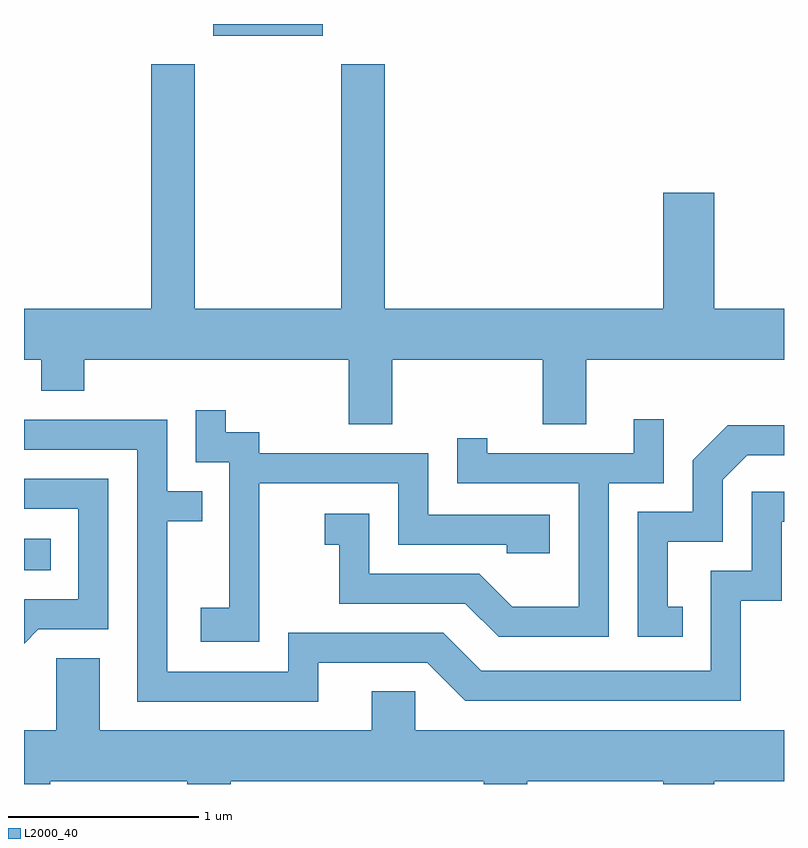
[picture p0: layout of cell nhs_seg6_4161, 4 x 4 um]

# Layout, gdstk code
import gdstk
lib = gdstk.Library(unit=1e-6, precision=1e-09)
def R(c, l, rs):  # rectangles x0, y0, x1, y1
    for r in rs: c.add(gdstk.rectangle(r[:2], r[2:], *l))
def P(c, l, *ps):  # polygons
    for p in ps: c.add(gdstk.Polygon(p, *l))
L2000_40 = (2000, 40)

nhs_seg6_4161 = lib.new_cell('nhs_seg6_4161')
R(nhs_seg6_4161, L2000_40, [(311.611,1633.286,311.753,1633.454), (312.606,1636.101,313.184,1636.162)])
P(nhs_seg6_4161, L2000_40, [(313.549,1634.396),(314.341,1634.396),(314.341,1634.056),(314.569,1634.056),(314.569,1634.396),(315.611,1634.396),(315.611,1634.664),(315.244,1634.664),(315.244,1635.274),(314.976,1635.274),(314.976,1634.664),(313.509,1634.664),(313.509,1635.949),(313.281,1635.949),(313.281,1634.664),(312.509,1634.664),(312.509,1635.949),(312.281,1635.949),(312.281,1634.664),(311.611,1634.664),(311.611,1634.396),(311.701,1634.396),(311.701,1634.231),(311.929,1634.231),(311.929,1634.396),(313.321,1634.396),(313.321,1634.056),(313.549,1634.056)],
  [(312.849,1633.746),(313.581,1633.746),(313.581,1633.421),(314.151,1633.421),(314.151,1633.376),(314.379,1633.376),(314.379,1633.579),(313.739,1633.579),(313.739,1633.904),(312.849,1633.904),(312.849,1634.014),(312.674,1634.014),(312.674,1634.128),(312.516,1634.128),(312.516,1633.856),(312.691,1633.856),(312.691,1633.089),(312.541,1633.089),(312.541,1632.911),(312.849,1632.911)],
  [(314.689,1633.746),(314.979,1633.746),(314.979,1634.083),(314.821,1634.083),(314.821,1633.904),(314.049,1633.904),(314.049,1633.983),(313.891,1633.983),(313.891,1633.746),(314.531,1633.746),(314.531,1633.094),(314.182,1633.094),(314.007,1633.269),(313.429,1633.269),(313.429,1633.584),(313.193,1633.584),(313.193,1633.421),(313.271,1633.421),(313.271,1633.111),(313.934,1633.111),(314.109,1632.936),(314.689,1632.936)],
  [(313.159,1632.801),(313.734,1632.801),(313.934,1632.601),(315.384,1632.601),(315.384,1633.126),(315.599,1633.126),(315.599,1633.541),(315.611,1633.541),(315.611,1633.699),(315.441,1633.699),(315.441,1633.284),(315.226,1633.284),(315.226,1632.759),(314.017,1632.759),(313.817,1632.959),(313.001,1632.959),(313.001,1632.754),(312.364,1632.754),(312.364,1633.546),(312.548,1633.546),(312.548,1633.704),(312.364,1633.704),(312.364,1634.079),(311.611,1634.079),(311.611,1633.921),(312.206,1633.921),(312.206,1632.596),(313.159,1632.596)],
  [(315.078,1633.094),(314.999,1633.094),(314.999,1633.436),(315.289,1633.436),(315.289,1633.764),(315.417,1633.891),(315.611,1633.891),(315.611,1634.049),(315.314,1634.049),(315.131,1633.867),(315.131,1633.594),(314.841,1633.594),(314.841,1632.936),(315.078,1632.936)],
  [(311.687,1632.976),(312.054,1632.976),(312.054,1633.769),(311.611,1633.769),(311.611,1633.611),(311.896,1633.611),(311.896,1633.134),(311.614,1633.134),(311.611,1633.131),(311.611,1632.9)],
  [(311.749,1632.176),(312.471,1632.176),(312.471,1632.162),(312.699,1632.162),(312.699,1632.176),(314.031,1632.176),(314.031,1632.162),(314.259,1632.162),(314.259,1632.176),(314.976,1632.176),(314.976,1632.162),(315.244,1632.162),(315.244,1632.176),(315.611,1632.176),(315.611,1632.444),(313.669,1632.444),(313.669,1632.649),(313.441,1632.649),(313.441,1632.444),(312.009,1632.444),(312.009,1632.824),(311.781,1632.824),(311.781,1632.444),(311.611,1632.444),(311.611,1632.162),(311.749,1632.162)])

lib.write_gds('nhs_seg6_4161.gds')
